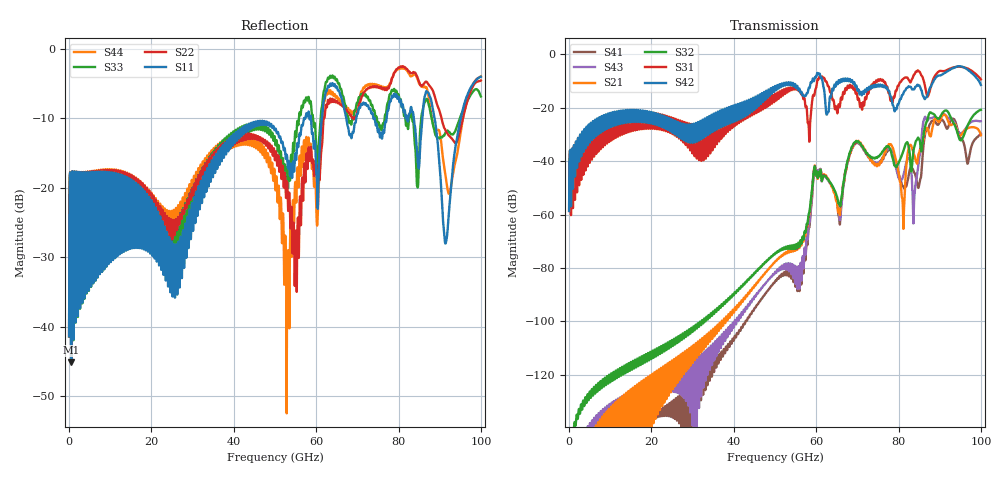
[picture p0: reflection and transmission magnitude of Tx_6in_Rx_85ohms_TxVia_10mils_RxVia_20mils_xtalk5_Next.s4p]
! Info: Touchstone file created by Circ.  Input file=Tx_6in_Rx_85ohms_TxVia_10mils_RxVia_20mils.circ
# Hz S RI R 50
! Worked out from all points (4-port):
!   10000 points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, 10 MHz to 100 GHz, reference 50 ohm
!   strongest paths, dB at 10 MHz, 25.01 GHz, 50.01 GHz, 75.01 GHz, 100 GHz:
!     S42: -58.6, -27.5, -12.0, -11.3, -11.5
!     S31: -58.7, -27.6, -14.9, -9.5, -9.4
!     S32: -177.8, -107.1, -74.6, -38.2, -20.8
!     S21: -, -114.8, -77.7, -41.0, -30.3
!     S43: -154.5, -119.8, -81.6, -40.5, -25.1
!     S41: -154.6, -131.5, -85.0, -40.9, -29.8
!   lowest |S11| = -45.1 dB at 530 MHz (marker M1), VSWR 1.01, Z = 49.5 - j0.106 ohm
!   |S11| at or under -10 dB: start of sweep to 57.04 GHz; 74.21 GHz to 77.1 GHz (2.898 GHz wide, 3.83 % of centre); 88.75 GHz to 95.12 GHz (6.372 GHz wide, 6.93 % of centre)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
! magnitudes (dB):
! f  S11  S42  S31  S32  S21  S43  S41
! 10 MHz  -41.4  -58.6  -58.7  -177.8  -  -154.5  -154.6
! 530 MHz  -45.1  -42.9  -43.0  -148.2  -177.4  -179.4  -176.9
! 55.62 GHz  -14.1  -13.2  -13.3  -70.8  -71.7  -81.4  -83.0
! 59.79 GHz  -14.1  -8.5  -13.4  -43.4  -43.2  -43.4  -43.6
! 81.1 GHz  -8.3  -15.0  -9.3  -36.5  -59.6  -45.7  -49.4
! 91.48 GHz  -27.9  -6.7  -6.1  -21.0  -23.0  -22.9  -27.0
! 100 GHz  -4.0  -11.5  -9.4  -20.8  -30.3  -25.1  -29.8
